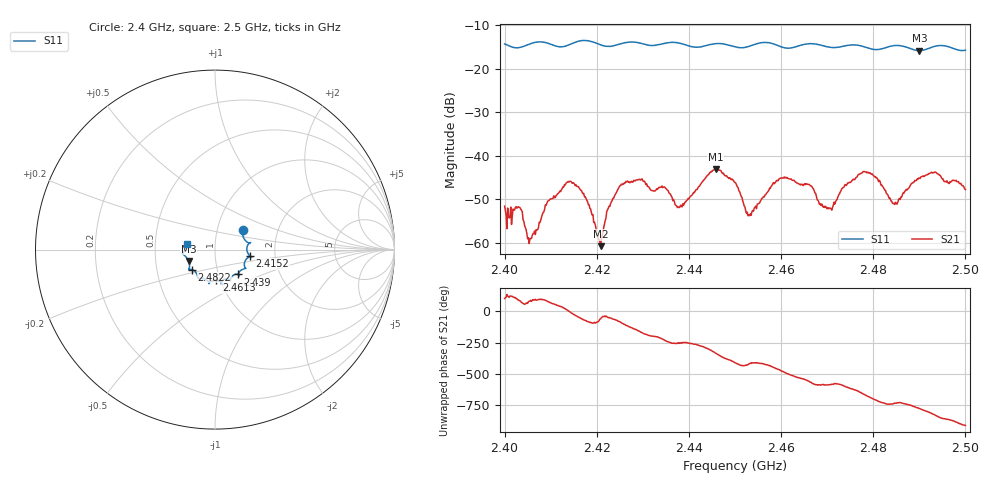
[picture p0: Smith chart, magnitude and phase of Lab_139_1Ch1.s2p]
# Hz S RI R 50
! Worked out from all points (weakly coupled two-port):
!   601 points, 2.4 GHz to 2.5 GHz, reference 50 ohm
!   highest |S21| = -42.99 dB at 2.4458 GHz (marker M1); lowest = -60.7 dB at 2.4208 GHz (marker M2)
!   lowest |S11| = -15.9 dB at 2.49 GHz (marker M3), VSWR 1.38, Z = 36.9 - j4.85 ohm
!   |S11| at or under -10 dB: start of sweep to end of sweep
!   S12 and S22 are empty: the file has one direction only
!   S11 on the Smith chart (normalised r, x): 2.4 GHz: 1.33, +0.31; 2.4152 GHz: 1.48, -0.11; 2.439 GHz: 1.24, -0.36; 2.4613 GHz: 0.96, -0.34; 2.4822 GHz: 0.76, -0.17; 2.5 GHz: 0.73, +0.05
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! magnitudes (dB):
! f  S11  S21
! 2.4 GHz  -14.4  -51.5
! 2.4033 GHz  -15.2  -51.9
! 2.4055 GHz  -14.4  -59.0
! 2.4093 GHz  -14.2  -50.4
! 2.4152 GHz  -14.1  -46.5
! 2.4167 GHz  -13.6  -47.9
! 2.4208 GHz  -14.6  -60.7
! 2.4252 GHz  -14.3  -46.8
! 2.4333 GHz  -14.6  -47.5
! 2.439 GHz  -14.5  -50.9
! 2.4458 GHz  -14.3  -43.0
! 2.45 GHz  -15.0  -46.1
! 2.453 GHz  -14.9  -53.6
! 2.4613 GHz  -15.3  -45.0
! 2.4667 GHz  -14.3  -47.0
! 2.4705 GHz  -15.1  -52.0
! 2.4777 GHz  -14.9  -43.8
! 2.4822 GHz  -15.4  -47.2
! 2.4833 GHz  -15.0  -49.4
! 2.4848 GHz  -14.7  -50.7
! 2.49 GHz  -15.9  -45.1
! 2.5 GHz  -15.8  -47.7
